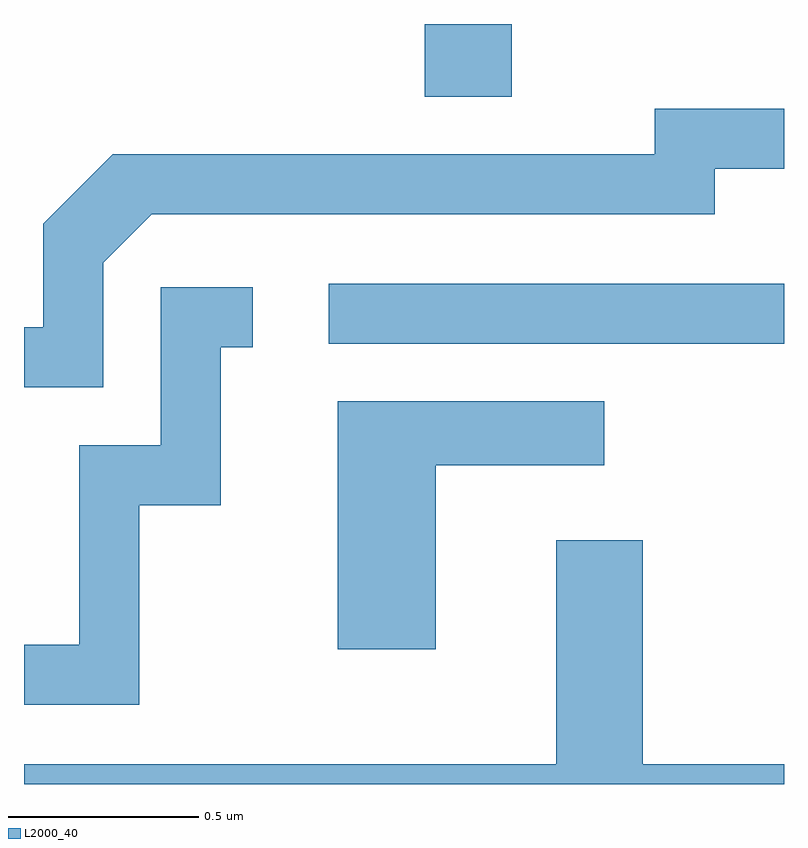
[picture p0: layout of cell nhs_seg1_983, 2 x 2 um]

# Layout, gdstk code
import gdstk
lib = gdstk.Library(unit=1e-6, precision=1e-09)
def R(c, l, rs):  # rectangles x0, y0, x1, y1
    for r in rs: c.add(gdstk.rectangle(r[:2], r[2:], *l))
def P(c, l, *ps):  # polygons
    for p in ps: c.add(gdstk.Polygon(p, *l))
L2000_40 = (2000, 40)

nhs_seg1_983 = lib.new_cell('nhs_seg1_983')
R(nhs_seg1_983, L2000_40, [(193.413,869.871,194.611,870.029), (193.666,870.521,193.894,870.712)])
P(nhs_seg1_983, L2000_40, [(192.819,870.084),(192.947,870.211),(194.429,870.211),(194.429,870.331),(194.611,870.331),(194.611,870.489),(194.271,870.489),(194.271,870.369),(192.844,870.369),(192.661,870.187),(192.661,869.914),(192.611,869.914),(192.611,869.756),(192.819,869.756)],
  [(192.914,869.446),(193.129,869.446),(193.129,869.861),(193.213,869.861),(193.213,870.019),(192.971,870.019),(192.971,869.604),(192.756,869.604),(192.756,869.079),(192.611,869.079),(192.611,868.921),(192.914,868.921)],
  [(193.694,869.551),(194.138,869.551),(194.138,869.719),(193.436,869.719),(193.436,869.066),(193.694,869.066)],
  [(194.611,868.764),(194.239,868.764),(194.239,869.354),(194.011,869.354),(194.011,868.764),(192.611,868.764),(192.611,868.712),(194.611,868.712)])

lib.write_gds('nhs_seg1_983.gds')
